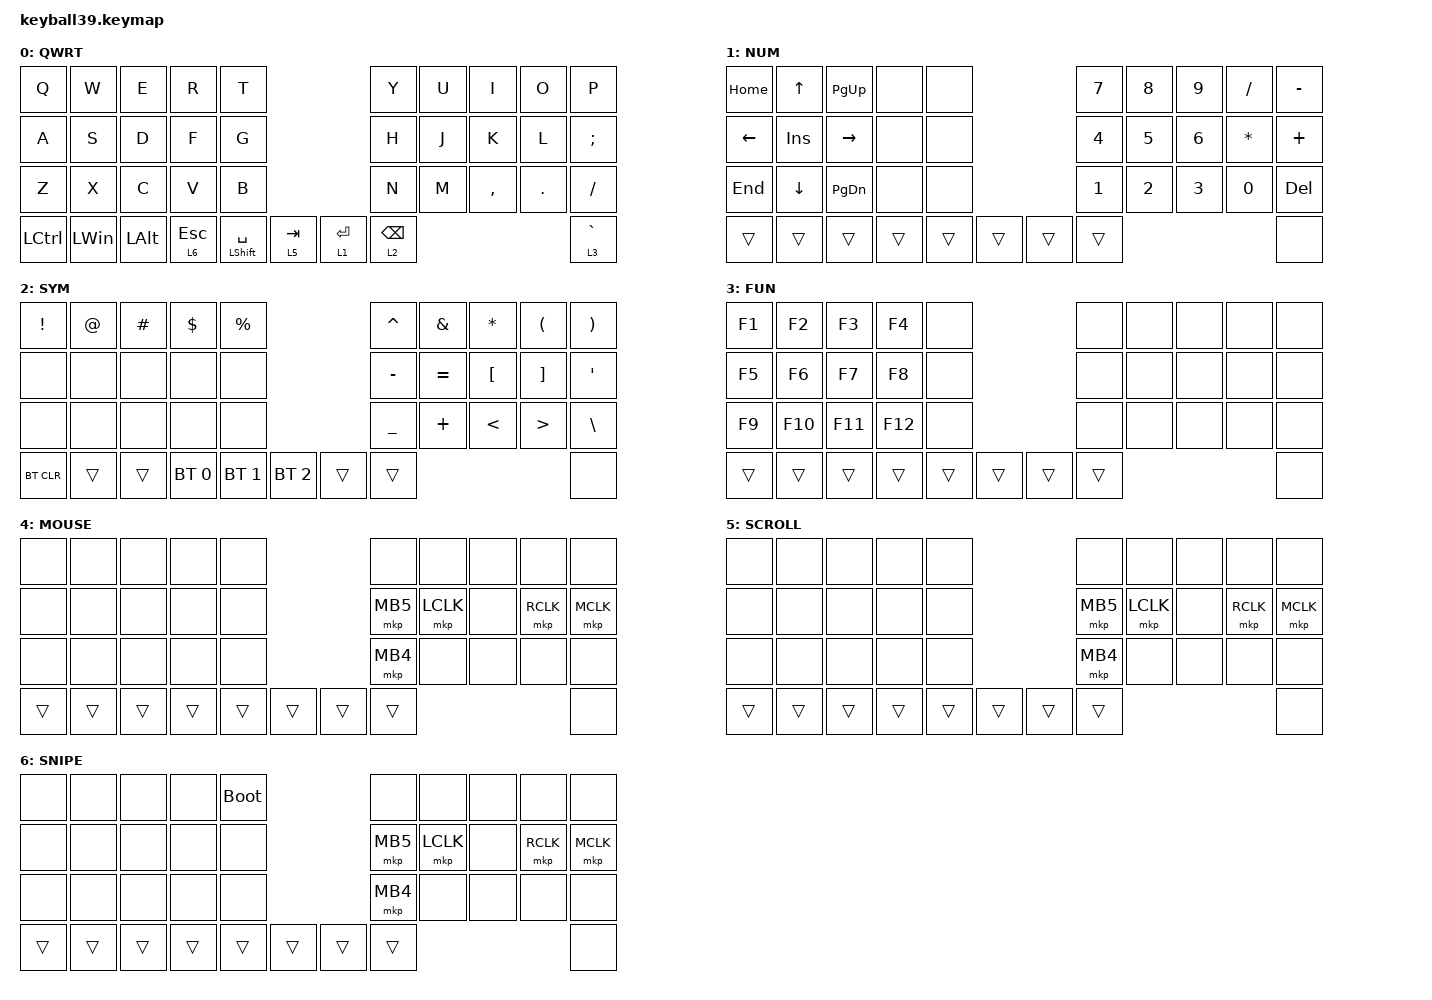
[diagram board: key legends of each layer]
#define DEFAULT 0
#define NUM     1
#define SYM     2
#define FUN     3
#define MOUSE   4
#define SCROLL  5
#define SNIPE   6

#include <behaviors/mouse_keys.dtsi>
#include <dt-bindings/zmk/mouse.h>
#include <behaviors.dtsi>
#include <dt-bindings/zmk/bt.h>
#include <dt-bindings/zmk/keys.h>
#include <dt-bindings/zmk/pointing.h>

&lt {
    tapping-term-ms = <240>;
    flavor = "balanced";
    quick-tap-ms = <150>;
};

&mt {
    tapping-term-ms = <200>;
    flavor = "tap-preferred";
    quick-tap-ms = <150>;
};

&caps_word { continue-list = <UNDERSCORE MINUS>; };

/ {
    // custom shift using mod-morph 

    behaviors {
        cmqus: comma_question {
            compatible = "zmk,behavior-mod-morph";
            label = "COMMA_QUESTION";
            #binding-cells = <0>;
            bindings = <&kp COMMA>, <&kp QUESTION>;

            mods = <(MOD_LSFT|MOD_RSFT)>;
        };

        dtsmi: dot_semi {
            compatible = "zmk,behavior-mod-morph";
            label = "DOT_SEMI";
            #binding-cells = <0>;
            bindings = <&kp DOT>, <&kp SEMI>;

            mods = <(MOD_LSFT|MOD_RSFT)>;
        };
    };

    macros {
        Hiragana: Hiragana {
            compatible = "zmk,behavior-macro";
            #binding-cells = <0>;
            bindings = <&kp LC(SPACE)>;
            label = "HIRAGANA";
        };
    };

    keymap {
        compatible = "zmk,keymap";

        default_layer {
            label = "QWRT";
            bindings = <
&kp Q      &kp W         &kp E     &kp R         &kp T                                         &kp Y            &kp U  &kp I      &kp O    &kp P
&kp A      &kp S         &kp D     &kp F         &kp G                                         &kp H            &kp J  &kp K      &kp L    &kp SEMI
&kp Z      &kp X         &kp C     &kp V         &kp B                                         &kp N            &kp M  &kp COMMA  &kp DOT  &kp SLASH
&kp LCTRL  &kp LEFT_WIN  &kp LALT  &lt 6 ESCAPE  &mt LEFT_SHIFT SPACE  &lt 5 TAB  &lt 1 ENTER  &lt 2 BACKSPACE                             &lt 3 GRAVE
            >;
        };

        number_layer {
            label = "NUM";
            bindings = <
&kp HOME  &kp UP_ARROW  &kp PG_UP  &none   &none                   &kp N7        &kp N8        &kp N9        &kp FSLH   &kp MINUS
&kp LEFT  &kp INS       &kp RIGHT  &none   &none                   &kp NUMBER_4  &kp N5        &kp NUMBER_6  &kp ASTRK  &kp PLUS
&kp END   &kp DOWN      &kp PG_DN  &none   &none                   &kp NUMBER_1  &kp NUMBER_2  &kp NUMBER_3  &kp N0     &kp DEL
&trans    &trans        &trans     &trans  &trans  &trans  &trans  &trans                                               &none
            >;
        };

        symbol_layer {
            label = "SYM";
            bindings = <
&kp EXCLAMATION  &kp AT_SIGN  &kp HASH  &kp DOLLAR    &kp PERCENT                         &kp CARET       &kp AMPERSAND  &kp ASTERISK      &kp LEFT_PARENTHESIS  &kp RIGHT_PARENTHESIS
&none            &none        &none     &none         &none                               &kp MINUS       &kp EQUAL      &kp LEFT_BRACKET  &kp RIGHT_BRACKET     &kp SQT
&none            &none        &none     &none         &none                               &kp UNDERSCORE  &kp PLUS       &kp LESS_THAN     &kp GREATER_THAN      &kp BACKSLASH
&bt BT_CLR       &trans       &trans    &bt BT_SEL 0  &bt BT_SEL 1  &bt BT_SEL 2  &trans  &trans                                                                 &none
            >;
        };

        function_layer {
            label = "FUN";
            bindings = <
&kp F1  &kp F2   &kp F3   &kp F4   &none                   &none   &none  &none  &none  &none
&kp F5  &kp F6   &kp F7   &kp F8   &none                   &none   &none  &none  &none  &none
&kp F9  &kp F10  &kp F11  &kp F12  &none                   &none   &none  &none  &none  &none
&trans  &trans   &trans   &trans   &trans  &trans  &trans  &trans                       &none
            >;
        };

        mouse_layer {
            label = "MOUSE";
            bindings = <
&none   &none   &none   &none   &none                   &none     &none      &none  &none      &none
&none   &none   &none   &none   &none                   &mkp MB5  &mkp LCLK  &none  &mkp RCLK  &mkp MCLK
&none   &none   &none   &none   &none                   &mkp MB4  &none      &none  &none      &none
&trans  &trans  &trans  &trans  &trans  &trans  &trans  &trans                                 &none
            >;
        };

        scroll_layer {
            label = "SCROLL";
            bindings = <
&none   &none   &none   &none   &none                   &none     &none      &none  &none      &none
&none   &none   &none   &none   &none                   &mkp MB5  &mkp LCLK  &none  &mkp RCLK  &mkp MCLK
&none   &none   &none   &none   &none                   &mkp MB4  &none      &none  &none      &none
&trans  &trans  &trans  &trans  &trans  &trans  &trans  &trans                                 &none
            >;
        };

        snipe_layer {
            label = "SNIPE";
            bindings = <
&none   &none   &none   &none   &bootloader                  &none     &none      &none  &none      &none
&none   &none   &none   &none   &none                        &mkp MB5  &mkp LCLK  &none  &mkp RCLK  &mkp MCLK
&none   &none   &none   &none   &none                        &mkp MB4  &none      &none  &none      &none
&trans  &trans  &trans  &trans  &trans       &trans  &trans  &trans                                 &none
            >;
        };
    };
};
